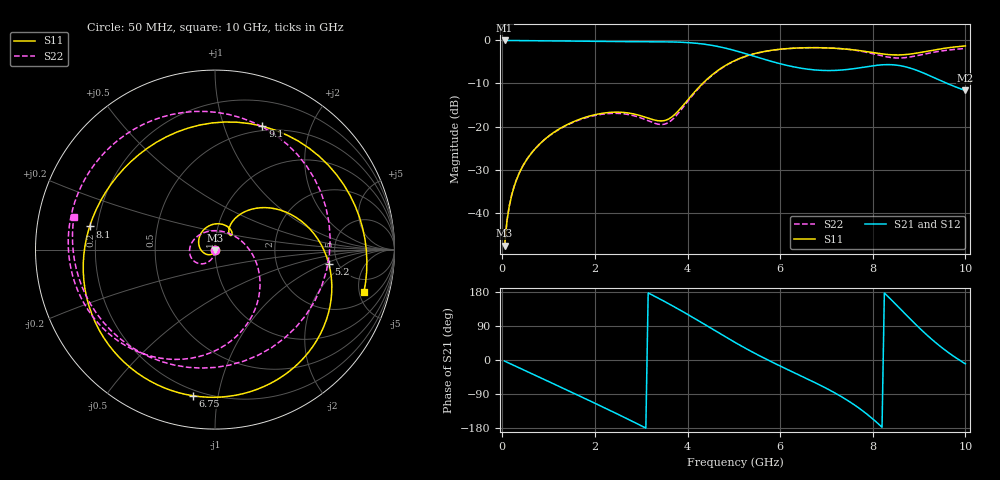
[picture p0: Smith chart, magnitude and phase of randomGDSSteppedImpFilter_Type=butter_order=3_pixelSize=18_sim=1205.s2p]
! freq	dB(S11)	phase(S11)	dB(S12)	phase(S12)
!  dB(S21)	phase(S21)	dB(S22)	phase(S22)
!S-par simulation data
#  GHz  S  DB  R 50
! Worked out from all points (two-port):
!   200 points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, 50 MHz to 10 GHz, reference 50 ohm
!   highest |S21| = -0.01 dB at 50 MHz (marker M1); lowest = -11.6 dB at 10 GHz (marker M2)
!   |S21| within 3 dB of the highest: start of sweep to 5.233 GHz
!   lowest |S11| = -47.7 dB at 50 MHz (marker M3), VSWR 1.01, Z = 50 - j0.413 ohm
!   |S11| at or under -10 dB: start of sweep to 4.326 GHz
!   |S22| runs from -47.8 to -1.7 dB; largest |S21 - S12| = 0
!   S11 on the Smith chart (normalised r, x): 50 MHz: 1.00, -0.01; 5.2 GHz: 4.22, -1.16; 6.75 GHz: 0.17, -0.84; 8.1 GHz: 0.17, +0.09; 9.1 GHz: 0.45, +1.36; 10 GHz: 3.02, -5.58
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0.05  -47.67 -91.2  -0.01 -2.9  -0.01 -2.9  -47.78 -85.6
0.2  -36.07 -106.4  -0.02 -11.4  -0.02 -11.4  -35.98 -94.0
0.5  -28.16 -133.7  -0.04 -28.4  -0.04 -28.4  -28.10 -103.3
1.15  -21.09 169.9  -0.11 -65.3  -0.11 -65.3  -21.16 -122.6
1.75  -18.00 121.3  -0.19 -99.6  -0.19 -99.6  -18.15 -142.6
2.65  -16.76 59.7  -0.28 -152.3  -0.28 -152.3  -17.08 174.6
3.4  -18.70 43.5  -0.31 161.2  -0.31 161.2  -19.51 96.6
4.25  -10.83 49.7  -0.73 102.6  -0.73 102.6  -11.01 -28.8
4.6  -7.41 31.1  -1.29 77.0  -1.29 77.0  -7.51 -60.4
5.05  -4.53 2.4  -2.44 44.7  -2.44 44.7  -4.60 -95.5
5.2  -3.88 -7.3  -2.90 34.4  -2.90 34.4  -3.94 -106.2
6  -2.04 -56.1  -5.41 -15.9  -5.41 -15.9  -2.07 -157.3
6.7  -1.69 -95.9  -6.81 -56.6  -6.81 -56.6  -1.67 161.0
6.75  -1.69 -98.7  -6.86 -59.5  -6.86 -59.5  -1.67 157.9
7.55  -2.15 -148.5  -6.62 -114.1  -6.62 -114.1  -2.18 98.7
7.85  -2.57 -170.4  -6.13 -140.5  -6.13 -140.5  -2.72 67.7
8.1  -2.97 169.5  -5.76 -166.2  -5.76 -166.2  -3.34 35.5
8.35  -3.30 147.7  -5.62 165.0  -5.62 165.0  -3.91 -2.7
8.75  -3.24 107.8  -6.25 115.5  -6.25 115.5  -3.94 -67.8
9.1  -2.66 69.0  -7.59 73.7  -7.59 73.7  -3.21 -115.4
9.55  -1.82 21.8  -9.73 27.1  -9.73 27.1  -2.35 -160.2
10  -1.28 -15.9  -11.62 -10.0  -11.62 -10.0  -1.86 166.9
